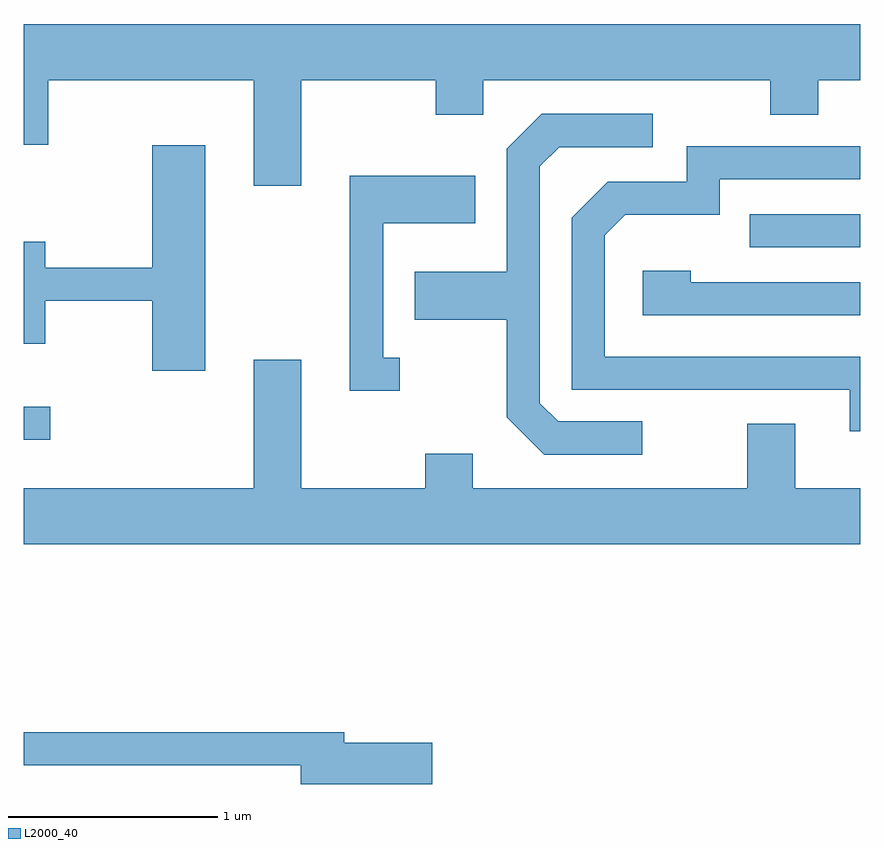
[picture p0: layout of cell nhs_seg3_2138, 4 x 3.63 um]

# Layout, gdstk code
import gdstk
lib = gdstk.Library(unit=1e-6, precision=1e-09)
def R(c, l, rs):  # rectangles x0, y0, x1, y1
    for r in rs: c.add(gdstk.rectangle(r[:2], r[2:], *l))
def P(c, l, *ps):  # polygons
    for p in ps: c.add(gdstk.Polygon(p, *l))
L2000_40 = (2000, 40)

nhs_seg3_2138 = lib.new_cell('nhs_seg3_2138')
R(nhs_seg3_2138, L2000_40, [(247.611,1177.576,247.738,1177.734), (251.083,1178.496,251.611,1178.654)])
P(nhs_seg3_2138, L2000_40, [(248.939,1179.296),(249.581,1179.296),(249.581,1179.131),(249.809,1179.131),(249.809,1179.296),(251.181,1179.296),(251.181,1179.131),(251.409,1179.131),(251.409,1179.296),(251.611,1179.296),(251.611,1179.564),(247.611,1179.564),(247.611,1178.986),(247.729,1178.986),(247.729,1179.296),(248.711,1179.296),(248.711,1178.791),(248.939,1178.791)],
  [(250.568,1177.664),(250.167,1177.664),(250.079,1177.752),(250.079,1178.884),(250.172,1178.976),(250.618,1178.976),(250.618,1179.134),(250.089,1179.134),(249.921,1178.967),(249.921,1178.379),(249.481,1178.379),(249.481,1178.151),(249.921,1178.151),(249.921,1177.684),(250.099,1177.506),(250.568,1177.506)],
  [(248.479,1178.984),(248.226,1178.984),(248.226,1178.399),(247.714,1178.399),(247.714,1178.524),(247.611,1178.524),(247.611,1178.036),(247.714,1178.036),(247.714,1178.241),(248.226,1178.241),(248.226,1177.906),(248.479,1177.906)],
  [(251.611,1177.974),(250.389,1177.974),(250.389,1178.554),(250.487,1178.651),(250.939,1178.651),(250.939,1178.821),(251.611,1178.821),(251.611,1178.979),(250.781,1178.979),(250.781,1178.809),(250.404,1178.809),(250.231,1178.637),(250.231,1177.816),(251.561,1177.816),(251.561,1177.618),(251.611,1177.618)],
  [(249.408,1177.969),(249.329,1177.969),(249.329,1178.611),(249.769,1178.611),(249.769,1178.839),(249.171,1178.839),(249.171,1177.811),(249.408,1177.811)],
  [(251.611,1178.329),(250.799,1178.329),(250.799,1178.384),(250.571,1178.384),(250.571,1178.171),(251.611,1178.171)],
  [(251.611,1177.344),(251.299,1177.344),(251.299,1177.654),(251.071,1177.654),(251.071,1177.344),(249.759,1177.344),(249.759,1177.509),(249.531,1177.509),(249.531,1177.344),(248.939,1177.344),(248.939,1177.959),(248.711,1177.959),(248.711,1177.344),(247.611,1177.344),(247.611,1177.076),(251.611,1177.076)],
  [(249.564,1176.129),(249.144,1176.129),(249.144,1176.179),(247.611,1176.179),(247.611,1176.021),(248.936,1176.021),(248.936,1175.931),(249.564,1175.931)])

lib.write_gds('nhs_seg3_2138.gds')
